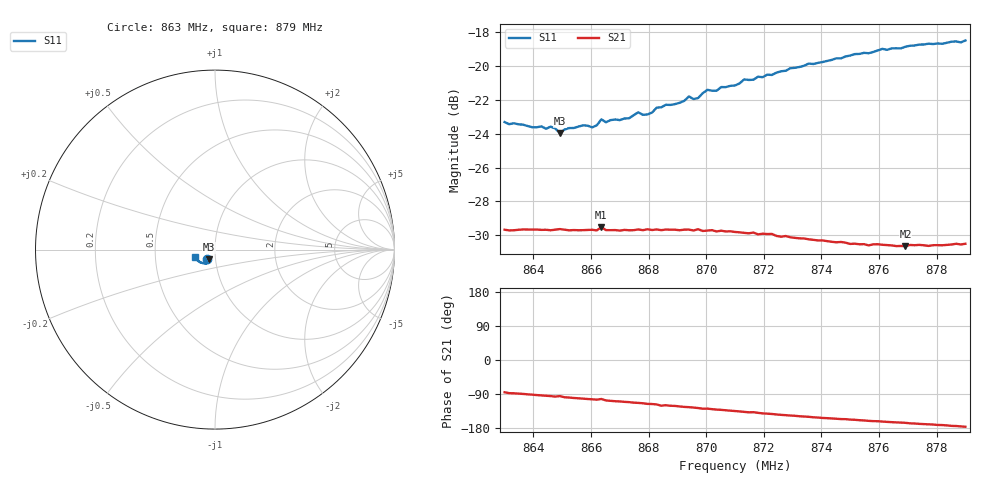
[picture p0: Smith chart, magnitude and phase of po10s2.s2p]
# HZ S RI R 50
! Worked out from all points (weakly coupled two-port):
!   101 points, 863 MHz to 879 MHz, reference 50 ohm
!   highest |S21| = -29.51 dB at 866.36 MHz (marker M1); lowest = -30.6 dB at 876.92 MHz (marker M2)
!   lowest |S11| = -24.0 dB at 864.92 MHz (marker M3), VSWR 1.14, Z = 46.5 - j5.05 ohm
!   |S11| at or under -10 dB: start of sweep to end of sweep
!   S12 and S22 are empty: the file has one direction only
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8.63e8  -0.0443 -0.052  0.00278 -0.0327  0 0  0 0
8.6444e8  -0.0368 -0.0539  -0.00251 -0.0327  0 0  0 0
8.646e8  -0.0369 -0.0549  -0.00298 -0.0326  0 0  0 0
8.6492e8  -0.033 -0.054  -0.00306 -0.0328  0 0  0 0
8.6572e8  -0.0337 -0.0576  -0.00677 -0.032  0 0  0 0
8.6604e8  -0.0323 -0.0574  -0.00776 -0.0319  0 0  0 0
8.6636e8  -0.0342 -0.0605  -0.00749 -0.0326  0 0  0 0
8.6652e8  -0.0329 -0.0597  -0.00945 -0.0314  0 0  0 0
8.6732e8  -0.0331 -0.0617  -0.0118 -0.0305  0 0  0 0
8.6764e8  -0.0349 -0.064  -0.013 -0.0303  0 0  0 0
8.6796e8  -0.0325 -0.0641  -0.0144 -0.0297  0 0  0 0
8.6844e8  -0.0355 -0.0666  -0.0167 -0.0282  0 0  0 0
8.6908e8  -0.0357 -0.0691  -0.0176 -0.0276  0 0  0 0
8.694e8  -0.0397 -0.0709  -0.0186 -0.0271  0 0  0 0
8.6972e8  -0.0377 -0.071  -0.0197 -0.0264  0 0  0 0
8.7004e8  -0.0427 -0.0735  -0.0202 -0.0256  0 0  0 0
8.71e8  -0.0452 -0.075  -0.0227 -0.023  0 0  0 0
8.7132e8  -0.0496 -0.0766  -0.0235 -0.022  0 0  0 0
8.7372e8  -0.0674 -0.0756  -0.0269 -0.0148  0 0  0 0
8.7644e8  -0.0929 -0.0637  -0.0284 -0.00814  0 0  0 0
8.7692e8  -0.097 -0.0597  -0.0285 -0.0072  0 0  0 0
8.79e8  -0.1118 -0.0405  -0.0298 -0.00197  0 0  0 0
